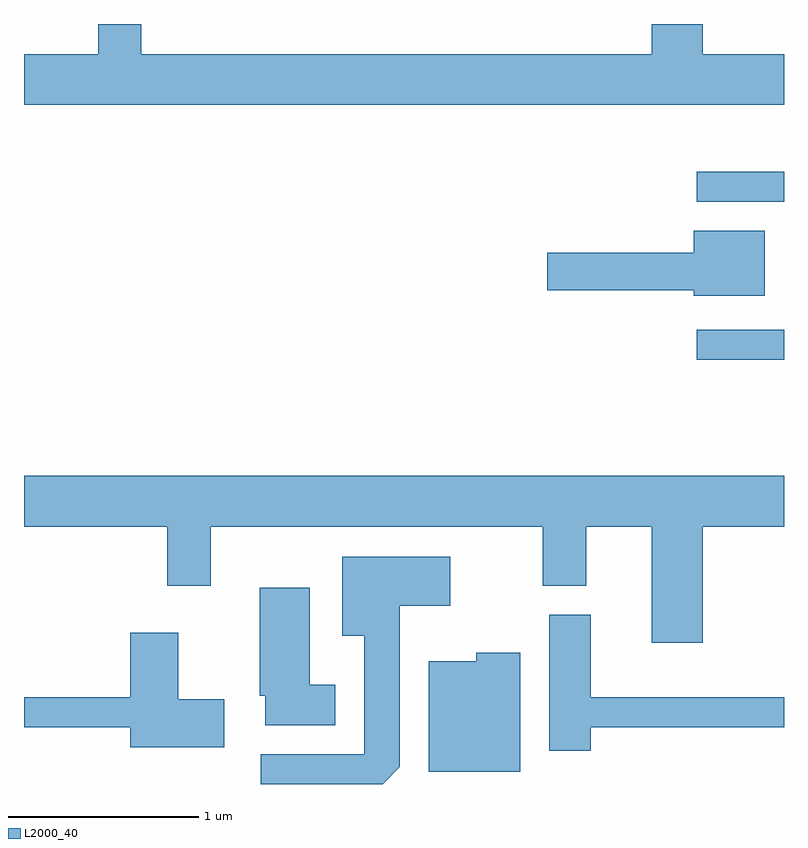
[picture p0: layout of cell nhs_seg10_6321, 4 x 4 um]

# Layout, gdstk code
import gdstk
lib = gdstk.Library(unit=1e-6, precision=1e-09)
def R(c, l, rs):  # rectangles x0, y0, x1, y1
    for r in rs: c.add(gdstk.rectangle(r[:2], r[2:], *l))
def P(c, l, *ps):  # polygons
    for p in ps: c.add(gdstk.Polygon(p, *l))
L2000_40 = (2000, 40)

nhs_seg10_6321 = lib.new_cell('nhs_seg10_6321')
R(nhs_seg10_6321, L2000_40, [(375.153,2154.756,375.611,2154.914), (375.153,2155.586,375.611,2155.744), (371.611,2156.521,371.849,2156.522)])
P(nhs_seg10_6321, L2000_40, [(375.611,2156.364),(375.184,2156.364),(375.184,2156.522),(374.916,2156.522),(374.916,2156.364),(372.229,2156.364),(372.229,2156.522),(372.001,2156.522),(372.001,2156.364),(371.611,2156.364),(371.611,2156.096),(375.611,2156.096)],
  [(375.509,2155.434),(375.136,2155.434),(375.136,2155.319),(374.366,2155.319),(374.366,2155.121),(375.136,2155.121),(375.136,2155.091),(375.509,2155.091)],
  [(375.184,2153.876),(375.611,2153.876),(375.611,2154.144),(371.611,2154.144),(371.611,2153.876),(372.366,2153.876),(372.366,2153.566),(372.594,2153.566),(372.594,2153.876),(374.341,2153.876),(374.341,2153.566),(374.569,2153.566),(374.569,2153.876),(374.916,2153.876),(374.916,2153.266),(375.184,2153.266)],
  [(373.589,2152.612),(373.589,2153.461),(373.854,2153.461),(373.854,2153.719),(373.286,2153.719),(373.286,2153.301),(373.401,2153.301),(373.401,2152.679),(372.856,2152.679),(372.856,2152.522),(373.5,2152.522)],
  [(373.249,2153.044),(373.114,2153.044),(373.114,2153.554),(372.851,2153.554),(372.851,2152.986),(372.881,2152.986),(372.881,2152.831),(373.249,2152.831)],
  [(374.594,2152.821),(375.611,2152.821),(375.611,2152.979),(374.594,2152.979),(374.594,2153.414),(374.376,2153.414),(374.376,2152.696),(374.594,2152.696)],
  [(372.664,2152.969),(372.424,2152.969),(372.424,2153.319),(372.171,2153.319),(372.171,2152.979),(371.611,2152.979),(371.611,2152.821),(372.171,2152.821),(372.171,2152.716),(372.664,2152.716)],
  [(374.224,2153.214),(373.991,2153.214),(373.991,2153.169),(373.741,2153.169),(373.741,2152.586),(374.224,2152.586)])

lib.write_gds('nhs_seg10_6321.gds')
